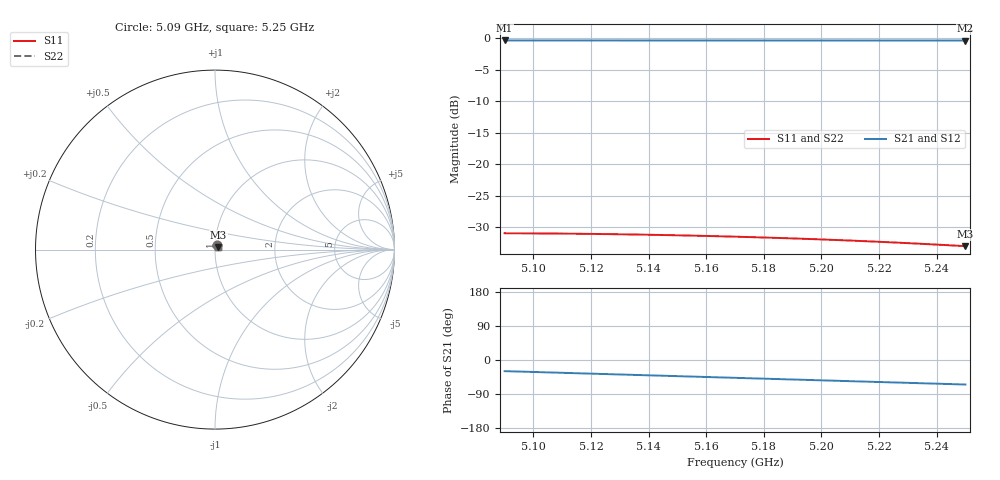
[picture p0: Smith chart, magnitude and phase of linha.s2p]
! Touchstone file exported from HFSS 2024.2.0
!  File:  D:/dev/EMBRAER/P1H/R03_Estudo/ZYF265D/cupom_120/Linha_ZYF265D_120.aedt
!  Generated:  10:32:53 PM Nov  6, 2026
!  Design:  Linha
!  Project:  Linha_ZYF265D_120
!  Setup:  Perda
!  Solution:  Banda
# GHz S RI R 50.000000
! Terminal data exported
! Port[1] = E
! Port[2] = S
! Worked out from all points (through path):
!   17 points, 5.09 GHz to 5.25 GHz, reference 50 ohm
!   highest |S21| = -0.35 dB at 5.09 GHz (marker M1); lowest = -0.4 dB at 5.25 GHz (marker M2)
!   group delay of S21, straight-line fit = 613 ps
!   lowest |S11| = -33.0 dB at 5.25 GHz (marker M3), VSWR 1.05, Z = 51.9 + j1.34 ohm
!   |S11| at or under -10 dB: start of sweep to end of sweep
!   |S22| runs from -32.9 to -30.9 dB; largest |S21 - S12| = 1e-15
5.09  0.0106 0.0264  0.8374 -0.4716  0.8374 -0.4716  0.00968 0.0269
! Gamma 0 0 0 0
! Port Impedance 50 0 50 0
5.1  0.0116 0.0259  0.8185 -0.5035  0.8185 -0.5035  0.0106 0.0265
5.11  0.0125 0.0254  0.7985 -0.5346  0.7985 -0.5346  0.0115 0.026
5.12  0.0133 0.0248  0.7772 -0.5649  0.7772 -0.5649  0.0124 0.0255
5.13  0.0141 0.0241  0.7548 -0.5943  0.7548 -0.5943  0.0132 0.0248
5.14  0.0148 0.0234  0.7314 -0.6229  0.7314 -0.6229  0.0139 0.0241
5.15  0.0155 0.0226  0.7068 -0.6505  0.7068 -0.6505  0.0146 0.0234
5.16  0.0161 0.0218  0.6811 -0.6772  0.6811 -0.6772  0.0153 0.0226
5.17  0.0167 0.0209  0.6545 -0.7029  0.6545 -0.7029  0.0159 0.0218
5.18  0.0172 0.02  0.6269 -0.7275  0.6269 -0.7275  0.0164 0.0209
5.19  0.0176 0.019  0.5984 -0.751  0.5984 -0.751  0.0168 0.02
5.2  0.0179 0.018  0.569 -0.7735  0.569 -0.7735  0.0172 0.0191
5.21  0.0182 0.017  0.5387 -0.7948  0.5387 -0.7948  0.0175 0.0181
5.22  0.0184 0.016  0.5077 -0.8149  0.5077 -0.8149  0.0177 0.0171
5.23  0.0185 0.015  0.4759 -0.8338  0.4759 -0.8338  0.0178 0.0161
5.24  0.0185 0.0139  0.4433 -0.8514  0.4433 -0.8514  0.0179 0.0151
5.25  0.0184 0.0129  0.4102 -0.8678  0.4102 -0.8678  0.0179 0.0141
